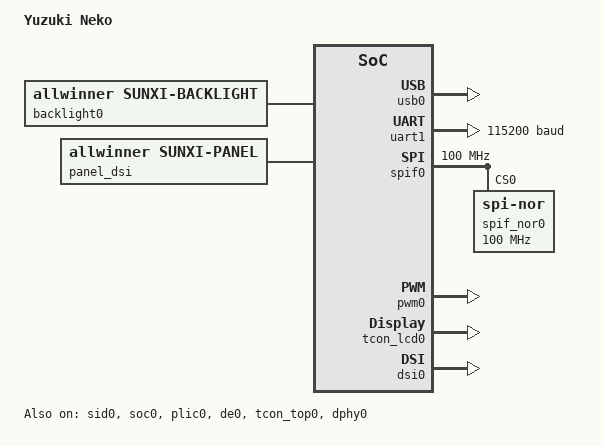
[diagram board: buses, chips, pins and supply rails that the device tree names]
// SPDX-License-Identifier: GPL-2.0+
/dts-v1/;

#include <dt-bindings/display/sunxi-display.h>
#include <dt-bindings/gpio/sunxi-gpio.h>
#include <dt-bindings/pwm/sunxi-pwm.h>
#include <dt-bindings/soc/sun252iw2.h>

/ {
	#address-cells = <1>;
	#size-cells = <1>;
	model = "Yuzuki Neko";
	compatible = "syterkit,yuzukineko";

	aliases {
		sid0 = &sid0;
		soc0 = &soc0;
		psram0 = &psram0;
		intc0 = &plic0;
		uart1 = &uart1;
		spif0 = &spif0;
		spif-nor0 = &spif_nor0;
		usb0 = &usb0;
		pwm0 = &pwm0;
		display0 = &display0;
	};

	chosen {
		stdout-path = &uart1;
	};

	memory@40000000 {
		device_type = "memory";
		reg = <SUNXI_PSRAM_BASE 0x01000000>;
	};

	psram0: psram-controller {
		compatible = "allwinner,sunxi-psram";
		allwinner,psram-parameters = <252>;
		status = "okay";
	};

	pio: pinctrl@2000000 {
		compatible = "allwinner,sunxi-pinctrl";
		reg = <SUNXI_GPIO_BASE 0x1000>;
		allwinner,bank-base = <SUNXI_GPIO_PORT_A>;
		allwinner,bank-count = <11>;
		gpio-controller;
		#gpio-cells = <3>;

		uart1_pins: uart1-pins {
			allwinner,pins =
				<SUNXI_GPIO_PORT_B 0 4>,
				<SUNXI_GPIO_PORT_B 1 4>;
		};

		/* MIPI DSI panel of the carrier board: 4 lanes and the clock on PD12..PD21 */
		dsi_pins: dsi-pins {
			allwinner,pins =
				<SUNXI_GPIO_PORT_D 12 4>, <SUNXI_GPIO_PORT_D 13 4>,
				<SUNXI_GPIO_PORT_D 14 4>, <SUNXI_GPIO_PORT_D 15 4>,
				<SUNXI_GPIO_PORT_D 16 4>, <SUNXI_GPIO_PORT_D 17 4>,
				<SUNXI_GPIO_PORT_D 18 4>, <SUNXI_GPIO_PORT_D 19 4>,
				<SUNXI_GPIO_PORT_D 20 4>, <SUNXI_GPIO_PORT_D 21 4>;
		};

		/* PWM0 channel 2 on PD22 drives the panel backlight */
		pwm0_pins: pwm0-pins {
			allwinner,pins = <SUNXI_GPIO_PORT_D 22 4>;
		};

		spif_pins: spif-pins {
			allwinner,pins =
				<SUNXI_GPIO_PORT_C 1 4>,
				<SUNXI_GPIO_PORT_C 0 4>,
				<SUNXI_GPIO_PORT_C 4 4>,
				<SUNXI_GPIO_PORT_C 2 4>,
				<SUNXI_GPIO_PORT_C 3 4>,
				<SUNXI_GPIO_PORT_C 5 4>;
		};
	};

	soc {
		compatible = "simple-bus";
		#address-cells = <1>;
		#size-cells = <1>;
		ranges;

		sid0: efuse@3006000 {
			compatible = "allwinner,sunxi-sid";
			reg = <SUNXI_SID_BASE 0x400>;
			allwinner,efuse-hv-switch = <(SUNXI_RTC_BASE + 0x204)>;
			status = "okay";
		};

		soc0: sysctrl@3000000 {
			compatible = "allwinner,soc";
			reg = <SUNXI_SYSCTRL_BASE 0x184>;
			status = "okay";
		};

		plic0: interrupt-controller@10000000 {
			compatible = "allwinner,sunxi-plic";
			reg = <SUNXI_RISCV_PLIC_BASE 0x201000>;
			interrupt-controller;
			#interrupt-cells = <1>;
			riscv,num-sources = <145>;
			status = "okay";
		};

		usb0: usb@4100000 {
			compatible = "allwinner,sunxi-usb";
			reg = <SUNXI_USB0_BASE 0x1000>;
			interrupts = <29>;
			allwinner,usb-id = <0>;
			allwinner,phy-clock = <(SUNXI_CCU_BASE + 0xa70) 31>;
			allwinner,phy-reset = <(SUNXI_CCU_BASE + 0xa70) 30>;
			allwinner,clock-gate = <(SUNXI_CCU_BASE + 0xa8c) 8>;
			allwinner,reset = <(SUNXI_CCU_BASE + 0xa8c) 24>;
			status = "okay";
		};

		uart1: serial@2500400 {
			compatible = "allwinner,sunxi-uart";
			reg = <SUNXI_UART1_BASE 0x400>;
			current-speed = <115200>;
			clock-frequency = <24000000>;
			allwinner,uart-id = <1>;
			allwinner,clock-gate = <(SUNXI_CCU_BASE + 0x90c) 1>;
			allwinner,reset = <(SUNXI_CCU_BASE + 0x90c) 17>;
			pinctrl-names = "default";
			pinctrl-0 = <&uart1_pins>;
			status = "okay";
		};

		spif0: spif@c000000 {
			compatible = "allwinner,sunxi-spif";
			#address-cells = <1>;
			#size-cells = <0>;
			allwinner,spif-id = <0>;
			reg = <SUNXI_SPI_FLASH0_BASE 0x1000>;
			clock-frequency = <100000000>;
			allwinner,module-clock = <(SUNXI_CCU_BASE + 0x980) 1 8 600000000 0>;
			allwinner,clock-gate = <(SUNXI_CCU_BASE + 0x984) 0>;
			allwinner,reset = <(SUNXI_CCU_BASE + 0x984) 16>;
			spif-rx-bus-width = <4>;
			spif-tx-bus-width = <4>;
			dtr-enable = <0>;
			io-mode-enable = <1>;
			pinctrl-names = "default";
			pinctrl-0 = <&spif_pins>;
			status = "okay";

			spif_nor0: flash@0 {
				compatible = "jedec,spi-nor";
				reg = <0>;
				spi-max-frequency = <100000000>;
			};
		};

		pwm0: pwm@2000c00 {
			compatible = "allwinner,sunxi-pwm";
			reg = <SUNXI_PWM_BASE 0x400>;
			#pwm-cells = <3>;
			allwinner,pwm-id = <0>;
			clock-frequency = <24000000>;
			allwinner,apb-clock-frequency = <24000000>;
			allwinner,clock-gate = <(SUNXI_CCU_BASE + 0x7ac) 0>;
			allwinner,reset = <(SUNXI_CCU_BASE + 0x7ac) 16>;
			allwinner,channel-config = <2 SUNXI_PWM_CHANNEL_SINGLE 0 0>;
			pinctrl-names = "default";
			pinctrl-0 = <&pwm0_pins>;
			status = "okay";
		};

		/*
		 * Display: de0 -> tcon_lcd0 -> dsi0 (dphy0) -> panel_dsi, the 1024x768 JD9168S
		 * panel of the carrier board. rgb0 / lvds0 are the other outputs of the TCON;
		 * allwinner,output selects one.
		 */
		de0: display-engine@5000000 {
			compatible = "allwinner,sunxi-de";
			reg = <SUNXI_DE_BASE 0x200000>;
			allwinner,variant = "sun252iw2";
			allwinner,module-clock = <(SUNXI_CCU_BASE + 0x600) 0>;
			clock-frequency = <300000000>;
			allwinner,clock-gate = <(SUNXI_CCU_BASE + 0x60c) 0>;
			allwinner,reset = <(SUNXI_CCU_BASE + 0x60c) 16>;
			status = "okay";
		};

		tcon_top0: tcon-top@5460000 {
			compatible = "allwinner,sunxi-tcon-top";
			reg = <SUNXI_TCON_TOP_BASE 0x1000>;
			allwinner,variant = "sun252iw2";
			allwinner,clock-gate = <(SUNXI_CCU_BASE + 0xabc) 0>;
			allwinner,reset = <(SUNXI_CCU_BASE + 0xabc) 16>;
			status = "okay";
		};

		tcon_lcd0: tcon-lcd@5461000 {
			compatible = "allwinner,sunxi-tcon-lcd";
			reg = <SUNXI_TCON_LCD0_BASE 0x1000>;
			allwinner,variant = "sun252iw2";
			allwinner,tcon-id = <0>;
			allwinner,module-clock = <(SUNXI_CCU_BASE + 0xb60) 1>;
			allwinner,clock-gate = <(SUNXI_CCU_BASE + 0xb7c) 0>;
			allwinner,reset = <(SUNXI_CCU_BASE + 0xb7c) 16>;
			status = "okay";
		};

		dphy0: phy@5451000 {
			compatible = "allwinner,sunxi-combo-dphy";
			reg = <SUNXI_COMBO_DPHY0_BASE 0x1000>;
			allwinner,variant = "sun252iw2";
			allwinner,phy-id = <0>;
			allwinner,module-clock = <(SUNXI_CCU_BASE + 0xaa0) 0>;
			allwinner,module-div = <4>;
			allwinner,clock-gate = <(SUNXI_CCU_BASE + 0xaa4) 0>;
			status = "okay";
		};

		dsi0: dsi@5450000 {
			compatible = "allwinner,sunxi-mipi-dsi";
			reg = <SUNXI_DSI0_BASE 0x1000>;
			allwinner,variant = "sun252iw2";
			allwinner,dsi-id = <0>;
			allwinner,module-clock = <(SUNXI_CCU_BASE + 0xb24) 1>;
			clock-frequency = <150000000>;
			allwinner,clock-gate = <(SUNXI_CCU_BASE + 0xb4c) 0>;
			allwinner,reset = <(SUNXI_CCU_BASE + 0xb4c) 16>;
			allwinner,phy = <&dphy0>;
			allwinner,drive-level = <3>;
			pinctrl-names = "default";
			pinctrl-0 = <&dsi_pins>;
			status = "okay";
		};

		backlight0: backlight {
			compatible = "allwinner,sunxi-backlight";
			allwinner,pwm = <&pwm0>;
			allwinner,pwm-channel = <2>;
			allwinner,pwm-period-ns = <1000000>;
			allwinner,active-high = <1>;
			allwinner,brightness = <40>;
			status = "okay";
		};

		panel_dsi: panel {
			compatible = "allwinner,sunxi-panel";
			allwinner,gpio-controller = <&pio>;
			clock-frequency = <54000000>;
			hactive = <1024>;
			vactive = <768>;
			hsync-len = <10>;
			hfront-porch = <40>;
			hback-porch = <40>;
			vsync-len = <8>;
			vfront-porch = <12>;
			vback-porch = <21>;
			hsync-active = <0>;
			vsync-active = <0>;
			de-active = <0>;
			pixelclk-active = <0>;
			width-mm = <65>;
			height-mm = <48>;
			allwinner,bus-format = "rgb888";
			allwinner,dsi-lanes = <4>;
			allwinner,dsi-channel = <0>;
			allwinner,dsi-format = "rgb888";
			allwinner,dsi-mode-flags = <(SUNXI_DSI_MODE_VIDEO | SUNXI_DSI_MODE_VIDEO_SYNC_PULSE |
						     SUNXI_DSI_MODE_LPM)>;
			enable-delay-ms = <20>;

			/* PD9 = reset */
			power-on-sequence = <SUNXI_CMD_GPIO(SUNXI_PIN(SUNXI_GPIO_PORT_D, 9), 1)
					     SUNXI_CMD_DELAY(100)
					     SUNXI_CMD_GPIO(SUNXI_PIN(SUNXI_GPIO_PORT_D, 9), 0)
					     SUNXI_CMD_DELAY(100)
					     SUNXI_CMD_GPIO(SUNXI_PIN(SUNXI_GPIO_PORT_D, 9), 1)
					     SUNXI_CMD_DELAY(100)>;
			init-sequence = <SUNXI_CMD_DCS(0, 4, 0xdf 0x91 0x68 0xf9)
					 SUNXI_CMD_DCS(0, 2, 0xde 0x00)
					 SUNXI_CMD_DCS(0, 3, 0xb2 0x00 0x7e)
					 SUNXI_CMD_DCS(0, 3, 0xb3 0x00 0x7e)
					 SUNXI_CMD_DCS(0, 7, 0xc1 0x00 0x10 0x00 0x00 0x00 0x00)
					 SUNXI_CMD_DCS(0, 8, 0xbb 0x02 0x24 0x07 0x61 0x19 0x44 0x44)
					 SUNXI_CMD_DCS(0, 3, 0xbe 0x1a 0xf2)
					 SUNXI_CMD_DCS(0, 15, 0xc3 0x10 0x17 0x5a 0x17 0x5a 0x05 0x05 0x05 0x05 0x15 0x15 0x31 0x05 0xdf)
					 SUNXI_CMD_DCS(0, 8, 0xc4 0x11 0x80 0x00 0xdf 0x09 0x06 0x14)
					 SUNXI_CMD_DCS(0, 24, 0xce 0x00 0x03 0x03 0x03 0x03 0x03 0x03 0x03 0x03 0x03 0x03 0x03 0x03 0x03 0x03 0x03 0x03 0x03 0x03 0x03 0x03 0x0f 0x03)
					 SUNXI_CMD_DCS(0, 10, 0xcf 0x00 0x01 0x40 0x01 0xca 0x01 0xca 0x01 0xca)
					 SUNXI_CMD_DCS(0, 24, 0xd0 0x00 0x1f 0x1f 0x1f 0x1f 0x1f 0x1f 0x1f 0x1f 0x1f 0x1f 0x03 0x01 0x05 0x07 0x09 0x0b 0x1e 0x15 0x1f 0x1f 0x15 0x1f)
					 SUNXI_CMD_DCS(0, 24, 0xd1 0x00 0x1f 0x1f 0x1f 0x1f 0x1f 0x1f 0x1f 0x1f 0x1f 0x1f 0x02 0x00 0x04 0x06 0x08 0x0a 0x1e 0x15 0x1f 0x1f 0x15 0x1f)
					 SUNXI_CMD_DCS(0, 24, 0xd2 0x00 0x1f 0x1f 0x1f 0x1f 0x1f 0x1f 0x1f 0x1f 0x1f 0x1f 0x00 0x02 0x0a 0x08 0x06 0x04 0x1f 0x15 0x1f 0x1f 0x15 0x1e)
					 SUNXI_CMD_DCS(0, 24, 0xd3 0x00 0x1f 0x1f 0x1f 0x1f 0x1f 0x1f 0x1f 0x1f 0x1f 0x1f 0x01 0x03 0x0b 0x09 0x07 0x05 0x1f 0x15 0x1f 0x1f 0x15 0x1e)
					 SUNXI_CMD_DCS(0, 38, 0xd4 0x30 0x00 0x00 0x04 0x00 0x06 0x00 0x00 0x00 0x00 0x00 0x03 0x03 0x00 0x11 0x00 0x01 0xc0 0x04 0x01 0x01 0x11 0x80 0x01 0xc0 0x05 0x01 0x01 0x00 0x00 0x00 0x04 0x00 0x06 0x18 0x02 0xe3)
					 SUNXI_CMD_DCS(0, 9, 0xd5 0x68 0x73 0x00 0x08 0x08 0x00 0x03 0x00)
					 SUNXI_CMD_DCS(0, 7, 0xb7 0x00 0xd8 0x00 0x00 0xd8 0x00)
					 SUNXI_CMD_DCS(0, 39, 0xc8 0x7f 0x69 0x5a 0x4e 0x4a 0x3b 0x40 0x2a 0x44 0x43 0x44 0x63 0x51 0x59 0x4c 0x48 0x3a 0x28 0x0f 0x7f 0x69 0x5a 0x4e 0x4a 0x3b 0x40 0x2a 0x44 0x43 0x44 0x63 0x51 0x59 0x4c 0x48 0x3a 0x28 0x0f)
					 SUNXI_CMD_DCS(0, 2, 0xde 0x02)
					 SUNXI_CMD_DCS(0, 5, 0xbb 0x00 0x5b 0x5c 0x41)
					 SUNXI_CMD_DCS(0, 4, 0xb5 0x00 0x5a 0x0a)
					 SUNXI_CMD_DCS(0, 2, 0xc6 0x22)
					 SUNXI_CMD_DCS(0, 2, 0xd7 0x12)
					 SUNXI_CMD_DCS(0, 3, 0xe7 0x00 0x00)
					 SUNXI_CMD_DCS(0, 2, 0xde 0x04)
					 SUNXI_CMD_DCS(0, 2, 0xcc 0x02)
					 SUNXI_CMD_DCS(0, 2, 0xe7 0x01)
					 SUNXI_CMD_DCS(0, 2, 0xde 0x00)
					 SUNXI_CMD_DCS(0, 2, 0x35 0x00)
					 SUNXI_CMD_DCS(120, 1, 0x11)
					 SUNXI_CMD_DCS(20, 1, 0x29)>;
			exit-sequence = <SUNXI_CMD_DCS(0, 1, 0x28)
					 SUNXI_CMD_DCS(120, 1, 0x10)>;
			power-off-sequence = <SUNXI_CMD_GPIO(SUNXI_PIN(SUNXI_GPIO_PORT_D, 9), 0)>;
			status = "okay";
		};

		display0: display-subsystem {
			compatible = "allwinner,sunxi-display";
			allwinner,variant = "sun252iw2";
			allwinner,pll-video = <(SUNXI_CCU_BASE + 0x40)>;
			allwinner,pll-peri = <(SUNXI_CCU_BASE + 0x20)>;
			allwinner,de = <&de0>;
			allwinner,tcon = <&tcon_lcd0>;
			allwinner,tcon-top = <&tcon_top0>;
			allwinner,output = <&dsi0>;
			allwinner,panel = <&panel_dsi>;
			allwinner,backlight = <&backlight0>;
			status = "okay";
		};
	};
};
